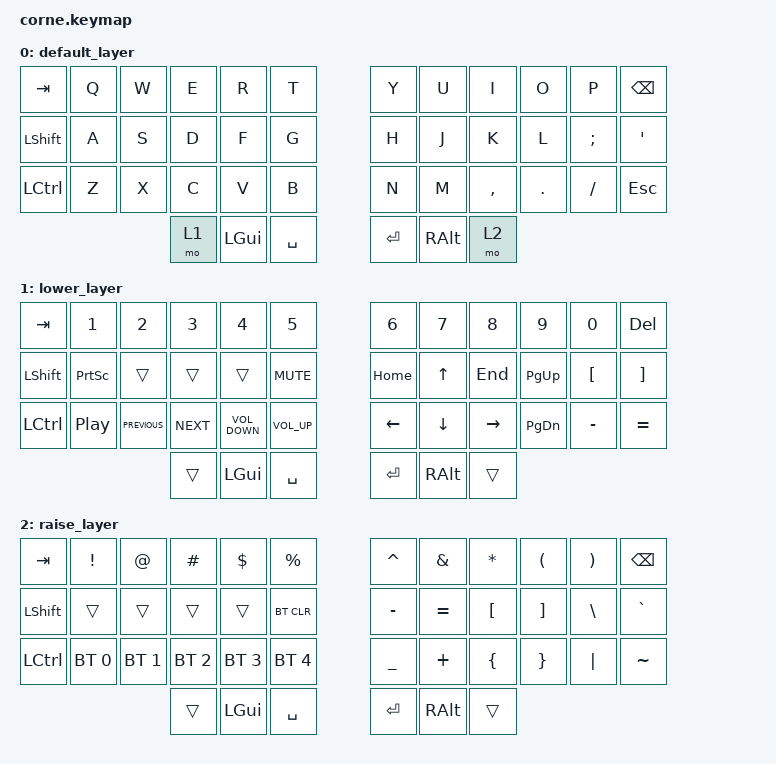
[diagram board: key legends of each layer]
/*
 * Copyright (c) 2020 The ZMK Contributors
 *
 * SPDX-License-Identifier: MIT
 */

#include <behaviors.dtsi>
#include <dt-bindings/zmk/keys.h>
#include <dt-bindings/zmk/bt.h>

/ {
        keymap {
                compatible = "zmk,keymap";

                default_layer {
                        bindings = <
   &kp TAB   &kp Q &kp W &kp E &kp R &kp T   &kp Y &kp U  &kp I     &kp O   &kp P    &kp BSPC
   &kp LSHFT &kp A &kp S &kp D &kp F &kp G   &kp H &kp J  &kp K     &kp L   &kp SEMI &kp SQT
   &kp LCTRL &kp Z &kp X &kp C &kp V &kp B   &kp N &kp M  &kp COMMA &kp DOT &kp FSLH &kp ESC
                  &mo 1 &kp LGUI &kp SPACE   &kp RET &kp RALT &mo 2
                        >;
                };

                lower_layer {
                        bindings = <
   &kp TAB    &kp N1            &kp N2          &kp N3      &kp N4             &kp N5             &kp N6      &kp N7    &kp N8        &kp N9           &kp N0           &kp DELETE
   &kp LSHFT  &kp PRINTSCREEN   &trans          &trans      &trans             &kp C_MUTE         &kp HOME    &kp UP    &kp END       &kp PAGE_UP      &kp LEFT_BRACKET &kp RIGHT_BRACKET
   &kp LCTRL  &kp C_PLAY_PAUSE  &kp C_PREVIOUS  &kp C_NEXT  &kp C_VOLUME_DOWN  &kp C_VOLUME_UP    &kp LEFT    &kp DOWN  &kp RIGHT     &kp PAGE_DOWN    &kp MINUS        &kp EQUAL
                                                &trans      &kp LGUI           &kp SPACE          &kp RET     &kp RALT  &trans
                        >;
                };

                raise_layer {
                        bindings = <
   &kp  TAB  &kp EXCL     &kp AT      &kp HASH      &kp DLLR     &kp PRCNT      &kp CARET &kp AMPS  &kp ASTRK &kp LPAR &kp RPAR &kp BSPC
   &kp LSHFT &trans       &trans      &trans        &trans       &bt BT_CLR     &kp MINUS &kp EQUAL &kp LBKT  &kp RBKT &kp BSLH &kp GRAVE
   &kp LCTRL &bt BT_SEL 0 &bt BT_SEL 1 &bt BT_SEL 2 &bt BT_SEL 3 &bt BT_SEL 4   &kp UNDER &kp PLUS  &kp LBRC  &kp RBRC &kp PIPE &kp TILDE
                                       &trans       &kp LGUI     &kp SPACE      &kp RET   &kp RALT  &trans
                        >;
                };
        };
};



// default_layer 0
// -----------------------------------------------------------------------------------------
// |  TAB |  Q  |  W  |  E  |  R  |  T  |   |  Y  |  U   |  I  |  O  |  P  | BKSP |
// | SHFT |  A  |  S  |  D  |  F  |  G  |   |  H  |  J   |  K  |  L  |  ;  |  '   |
// | CTRL |  Z  |  X  |  C  |  V  |  B  |   |  N  |  M   |  ,  |  .  |  /  | ESC  |
//                    | LWR | GUI | SPC |   | ENT | ALT  | RSE |
//
// lower_layer 1
// ----------------------------------------------------------------------------------------------
// |  TAB |  1          |  2       |  3   |  4          |  5        |   |  6     |  7  |  8       |  9         |  0  | DELETE |
// | SHFT | PRINTSCREEN |          |      |             |  MUTE     |   | HOME   | UP  | END      |  PAGE_UP   |  [  |  ]     |
// | CTRL | PLAY_PAUSE  | PREVIOUS | NEXT | VOLUME_DOWN | VOLUME_UP |   | LFT    | DWN | RGT      |  PAGE_DOWN |  -  |  =     |
//                                 |      | GUI         | SPC       |   | ENT    | ALT |          |
//
// raise_layer 2
// ------------------------------------------------------------------------------------------
// |  TAB |  !  |  @  |  #  |  $  |  %   |   |  ^  |  &  |  *  |  (  |  )  | BKSP |
// | SHFT |     |     |     |     | BTCLR|   |  -  |  =  |  [  |  ]  |  \  |  `   |
// | CTRL | BT1 | BT2 | BT3 | BT4 | BT5  |   |  _  |  +  |  {  |  }  | "|" |  ~   |
//                    |     | GUI | SPC  |   | ENT | ALT |     |
